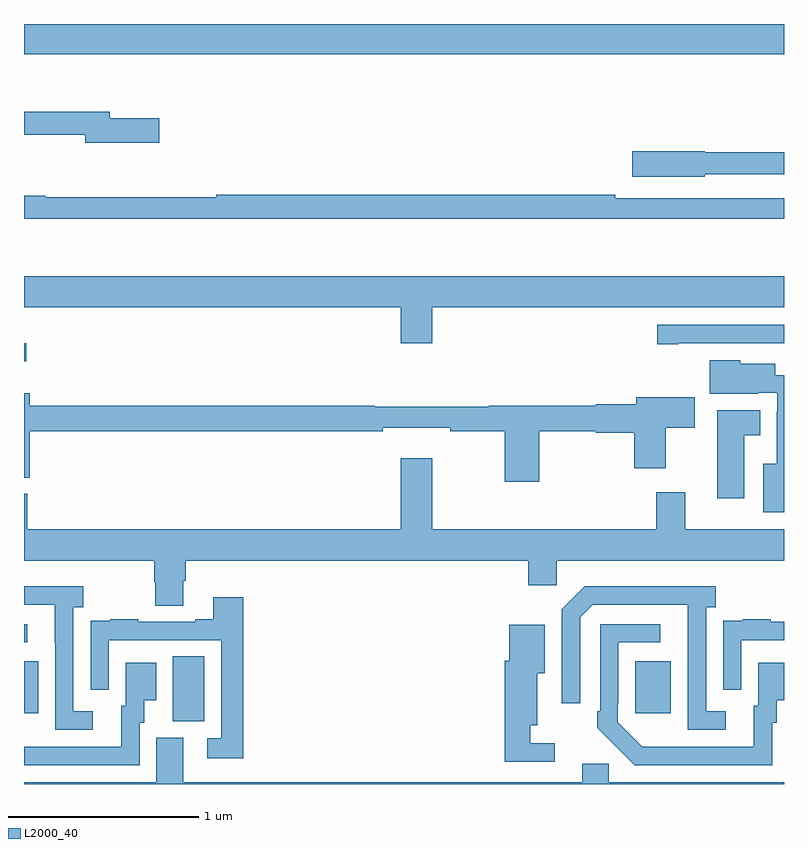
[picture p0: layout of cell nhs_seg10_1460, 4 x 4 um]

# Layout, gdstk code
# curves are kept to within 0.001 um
import gdstk
lib = gdstk.Library(unit=1e-6, precision=1e-09)
def R(c, l, rs):  # rectangles x0, y0, x1, y1
    for r in rs: c.add(gdstk.rectangle(r[:2], r[2:], *l))
def P(c, l, *ps):  # polygons
    for p in ps: c.add(gdstk.Polygon(p, *l))
L2000_40 = (2000, 40)

nhs_seg10_1460 = lib.new_cell('nhs_seg10_1460')
R(nhs_seg10_1460, L2000_40, [(187.784,1272.829,187.948,1273.172), (187,1272.873,187.075,1273.147), (190.217,1272.873,190.405,1273.147), (187,1273.245,187.018,1273.341), (187,1274.724,187.012,1274.82), (187,1276.34,191,1276.5)])
P(nhs_seg10_1460, L2000_40, [(187.711,1276.005),(187.45,1276.005),(187.45,1276.039),(187,1276.039),(187,1275.918),(187.322,1275.918),(187.322,1275.875),(187.711,1275.875)],
  [(190.584,1275.708),(191,1275.708),(191,1275.824),(190.584,1275.824),(190.584,1275.83),(190.2,1275.83),(190.2,1275.695),(190.584,1275.695)],
  [(191,1275.582),(190.112,1275.582),(190.112,1275.602),(188.012,1275.602),(188.012,1275.587),(187.112,1275.587),(187.112,1275.595),(187,1275.595),(187,1275.474),(191,1275.474)],
  [(189.148,1275.008),(191,1275.008),(191,1275.172),(187,1275.172),(187,1275.008),(188.984,1275.008),(188.984,1274.82),(189.148,1274.82)],
  [(190.444,1274.82),(191,1274.82),(191,1274.916),(190.332,1274.916),(190.332,1274.815),(190.444,1274.815)],
  [(191,1274.652),(190.954,1274.652),(190.954,1274.713),(190.77,1274.713),(190.77,1274.731),(190.61,1274.731),(190.61,1274.555),(190.865,1274.555),(190.865,1274.559),(190.965,1274.559),(190.965,1274.459),(190.961,1274.459),(190.961,1274.185),(190.892,1274.185),(190.892,1273.931),(191,1273.931)],
  [(189.713,1274.356),(190.008,1274.356),(190.008,1274.348),(190.211,1274.348),(190.211,1274.163),(190.378,1274.163),(190.378,1274.374),(190.531,1274.374),(190.531,1274.536),(190.223,1274.536),(190.223,1274.5),(190.008,1274.5),(190.008,1274.492),(189.446,1274.492),(189.446,1274.485),(188.846,1274.485),(188.846,1274.492),(187.031,1274.492),(187.031,1274.557),(187,1274.557),(187,1274.113),(187.031,1274.113),(187.031,1274.356),(188.888,1274.356),(188.888,1274.375),(189.244,1274.375),(189.244,1274.356),(189.53,1274.356),(189.53,1274.091),(189.713,1274.091)],
  [(190.792,1274.336),(190.876,1274.336),(190.876,1274.467),(190.649,1274.467),(190.649,1274.004),(190.792,1274.004)],
  [(187.837,1273.57),(187.85,1273.57),(187.85,1273.676),(189.653,1273.676),(189.653,1273.545),(189.804,1273.545),(189.804,1273.676),(191,1273.676),(191,1273.84),(190.48,1273.84),(190.48,1274.035),(190.328,1274.035),(190.328,1273.84),(189.148,1273.84),(189.148,1274.215),(188.984,1274.215),(188.984,1273.84),(187.016,1273.84),(187.016,1274.028),(187,1274.028),(187,1273.676),(187.685,1273.676),(187.685,1273.563),(187.69,1273.563),(187.69,1273.438),(187.837,1273.438)],
  [(190.693,1272.882),(190.59,1272.882),(190.59,1273.43),(190.642,1273.43),(190.642,1273.54),(189.952,1273.54),(189.831,1273.419),(189.831,1272.924),(189.927,1272.924),(189.927,1273.377),(189.993,1273.443),(190.493,1273.443),(190.494,1272.786),(190.693,1272.786)],
  [(187.363,1272.882),(187.26,1272.882),(187.26,1273.43),(187.312,1273.43),(187.312,1273.54),(187,1273.54),(187,1273.443),(187.163,1273.443),(187.163,1273.243),(187.164,1273.243),(187.164,1272.786),(187.363,1272.786)],
  [(188.153,1273.483),(187.997,1273.483),(187.997,1273.366),(187.901,1273.366),(187.901,1273.353),(187.601,1273.353),(187.601,1273.366),(187.453,1273.366),(187.453,1273.359),(187.351,1273.359),(187.351,1273.25),(187.35,1273.25),(187.35,1272.996),(187.446,1272.996),(187.446,1273.257),(188.037,1273.257),(188.037,1272.741),(187.965,1272.741),(187.965,1272.636),(188.153,1272.636)],
  [(190.776,1273.257),(191,1273.257),(191,1273.353),(190.931,1273.353),(190.931,1273.366),(190.783,1273.366),(190.783,1273.359),(190.681,1273.359),(190.681,1273.25),(190.68,1273.25),(190.68,1272.996),(190.776,1272.996)],
  [(190.938,1272.822),(190.963,1272.822),(190.963,1272.941),(191,1272.941),(191,1273.138),(190.865,1273.138),(190.865,1272.912),(190.841,1272.912),(190.841,1272.696),(190.254,1272.697),(190.125,1272.825),(190.125,1272.925),(190.128,1272.925),(190.128,1273.245),(190.348,1273.245),(190.348,1273.341),(190.032,1273.341),(190.032,1272.883),(190.017,1272.883),(190.017,1272.795),(190.214,1272.6),(190.938,1272.6)],
  [(189.793,1272.714),(189.664,1272.714),(189.664,1272.809),(189.7,1272.809),(189.7,1273.082),(189.742,1273.082),(189.742,1273.339),(189.554,1273.339),(189.554,1273.149),(189.53,1273.149),(189.53,1272.618),(189.793,1272.618)],
  [(187.608,1272.822),(187.633,1272.822),(187.633,1272.941),(187.696,1272.941),(187.696,1273.138),(187.535,1273.138),(187.535,1272.912),(187.511,1272.912),(187.511,1272.696),(187.027,1272.696),(187.027,1272.697),(187,1272.697),(187,1272.6),(187.608,1272.6)],
  [(191,1272.508),(190.077,1272.508),(190.077,1272.606),(189.938,1272.606),(189.938,1272.508),(187.837,1272.508),(187.837,1272.744),(187.697,1272.744),(187.697,1272.508),(187,1272.508),(187,1272.5),(191,1272.5)])

lib.write_gds('nhs_seg10_1460.gds')
